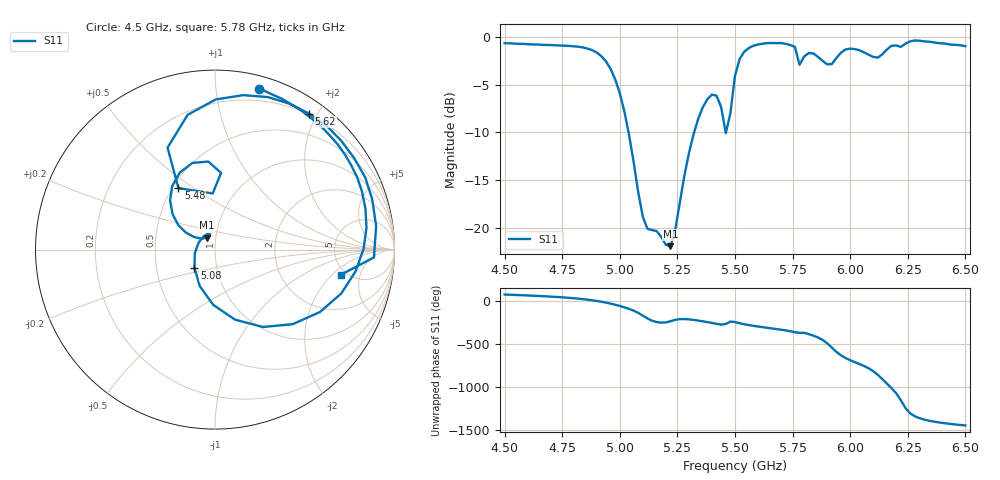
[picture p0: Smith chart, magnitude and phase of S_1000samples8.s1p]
! TOUCHSTONE file generated by CST MICROWAVE STUDIO
! Date and time: Wed Oct 26 16:28:41 2022
! Project name: L.cst
! Parameters = {Di=1.27; Epsilon_r=1.56; InnerDiameter=1.27; Length=2; Lf=10; Lg=60; OuterConductorThickness=0.2921; OuterDiameter=3.6; Wf=3; Wp=41.2; de=1.5; df=6.8; g=0.8; gx=4.77245; gy=0.781033; h=2.34; hf=1.524; px=10.4918; py=13.9101; w=9.7; wx=5.7193; wy=13.1291}
! Header version: 2018
! Port assignment regex: !\s*Touchstone port\s*([0-9]+)\s*=\s*(CST MWS port|CST DS port)\s*([0-9]+|Zmin|Zmax)\s*\(\"(.*)\"\)(\s*mode\s*([0-9]+))?.*
! Touchstone port assignment:
! Touchstone port 1 = CST MWS port 1 ("")
# GHz S DB R 50
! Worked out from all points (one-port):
!   101 points, 4.5 GHz to 6.5 GHz, reference 50 ohm
!   lowest |S11| = -21.9 dB at 5.22 GHz (marker M1), VSWR 1.17, Z = 45.3 + j6.05 ohm
!   |S11| at or under -10 dB: 5.038 GHz to 5.323 GHz (284.5 MHz wide, 5.49 % of centre); 5.4594 GHz to 5.460782 GHz (1.382 MHz wide, 0.0253 % of centre)
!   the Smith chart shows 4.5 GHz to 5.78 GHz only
!   S11 on the Smith chart (normalised r, x): 4.5 GHz: 0.10, +1.30; 5.08 GHz: 0.78, -0.16; 5.48 GHz: 0.54, +0.44; 5.62 GHz: 0.19, +1.90; 5.78 GHz: 4.48, -2.57
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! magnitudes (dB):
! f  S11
! 4.5 GHz  -0.7
! 4.76 GHz  -0.9
! 4.92 GHz  -2.0
! 4.96 GHz  -3.3
! 5 GHz  -5.9
! 5.04 GHz  -10.2
! 5.08 GHz  -16.3
! 5.1 GHz  -18.8
! 5.12 GHz  -20.1
! 5.22 GHz  -21.9
! 5.26 GHz  -17.4
! 5.32 GHz  -10.2
! 5.38 GHz  -6.5
! 5.42 GHz  -6.2
! 5.44 GHz  -7.4
! 5.46 GHz  -10.1
! 5.48 GHz  -8.0
! 5.5 GHz  -4.1
! 5.54 GHz  -1.6
! 5.62 GHz  -0.7
! 5.76 GHz  -1.0
! 5.78 GHz  -2.9
! 5.82 GHz  -1.7
! 5.92 GHz  -2.8
! 6 GHz  -1.2
! 6.12 GHz  -2.2
! 6.26 GHz  -0.5
! 6.5 GHz  -1.0
